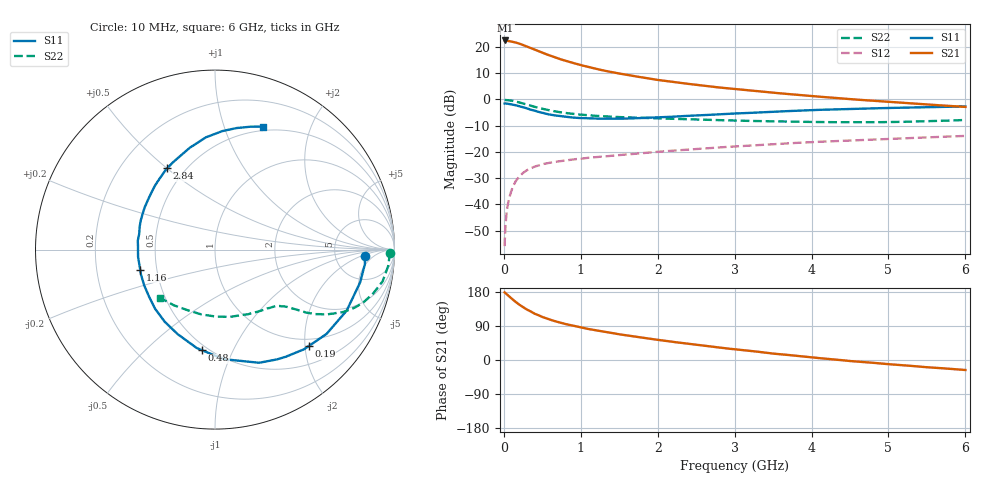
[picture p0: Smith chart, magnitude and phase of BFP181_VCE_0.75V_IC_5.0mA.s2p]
! Infineon Technologies  Discrete & RF Semiconductors
! BFP181
! VCE = 0.75V,  IC =  5.0 mA
! Common Emitter S-Parameters:  Jan 2016
# GHz  S  MA  R  50
!  f  S11  S21  S12  S22
! GHz  MAG  ANG  MAG  ANG  MAG  ANG  MAG  ANG
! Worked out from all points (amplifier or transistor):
!   210 points, 10 MHz to 6 GHz, reference 50 ohm
!   highest |S21| = 22.5 dB at 20 MHz (marker M1)
!   |S21| within 3 dB of that: start of sweep to 359 MHz
!   unconditionally stable (mu >= 1): 1.192 GHz to end of sweep
!   at 185 MHz: K = 0.22, MSG = 25.7 dB, |S12| = -30.0 dB
!   at 1.52 GHz: K = 1.14, MAG = 13.2 dB, |S12| = -21.1 dB
!   at 6 GHz: K = 1.22, MAG = 2.7 dB, |S12| = -13.9 dB
!   S11 on the Smith chart (normalised r, x): 10 MHz: 10, -3; 190 MHz: 0.85, -2.08; 480 MHz: 0.47, -0.77; 1.16 GHz: 0.40, -0.11; 2.84 GHz: 0.40, +0.50; 6 GHz: 0.45, +1.36
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0.01  0.8345 -2.6  13.17 178.4  0.0016 84.7  0.9771 -1.0
0.02  0.8393 -5.4  13.3 176.8  0.0036 90.0  0.9733 -2.1
0.05  0.8294 -12.6  13.13 171.1  0.0096 85.0  0.9689 -5.5
0.1  0.8086 -24.9  12.67 162.3  0.0185 75.9  0.9504 -10.7
0.15  0.779 -37.1  12.21 153.7  0.0271 69.8  0.9152 -15.4
0.19  0.7492 -45.9  11.72 147.8  0.0324 65.6  0.8853 -18.7
0.24  0.7157 -56.5  11.02 140.6  0.0386 60.9  0.8449 -22.4
0.3  0.6767 -68.7  10.24 133.2  0.0449 56.1  0.7953 -25.9
0.4  0.6122 -85.5  8.913 122.2  0.0524 50.0  0.7221 -30.0
0.48  0.5653 -97.3  7.957 115.5  0.0571 46.0  0.6752 -32.2
0.6  0.5148 -113.9  6.856 106.3  0.0623 42.5  0.6159 -34.7
0.7  0.4897 -125.0  6.047 100.3  0.0658 40.3  0.5795 -35.8
0.8  0.4689 -135.5  5.466 94.9  0.0685 39.0  0.5519 -36.8
1.02  0.44 -154.8  4.436 85.2  0.0748 37.1  0.5102 -38.7
1.16  0.4317 -165.0  3.961 79.8  0.0788 36.4  0.4915 -40.0
1.5  0.4331 173.4  3.12 67.8  0.0871 35.7  0.4611 -43.1
2.02  0.4575 148.6  2.334 52.7  0.101 34.3  0.4352 -49.8
2.84  0.5253 120.5  1.667 31.8  0.123 31.1  0.4029 -63.6
3.1  0.5463 113.3  1.53 26.2  0.1298 29.8  0.3924 -68.7
4.1  0.6334 92.9  1.129 5.0  0.156 23.7  0.3711 -91.6
5.1  0.6921 78.7  0.878 -12.5  0.179 17.3  0.3722 -116.8
6  0.7355 68.8  0.72 -26.4  0.2017 11.0  0.4064 -138.4
